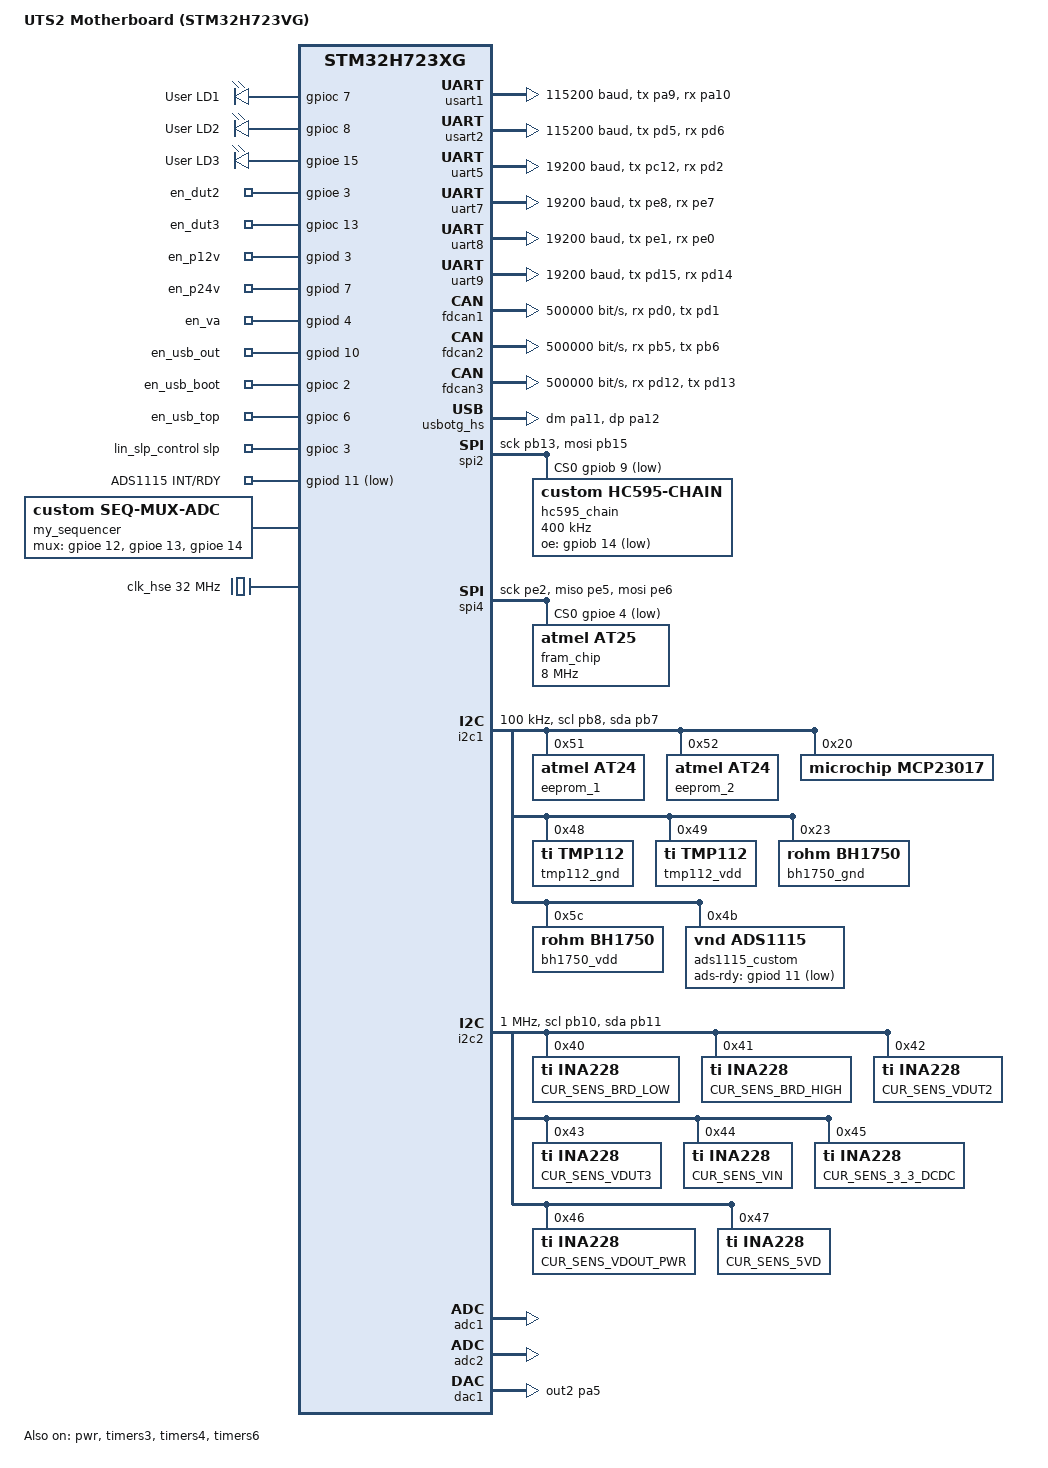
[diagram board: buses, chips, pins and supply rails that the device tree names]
/*
 * Copyright (c) 2020 Alexander Kozhinov <ak.alexander.kozhinov@gmail.com>
 * SPDX-License-Identifier: Apache-2.0
 */

/dts-v1/;
#include <st/h7/stm32h723Xg.dtsi>
#include <st/h7/stm32h723vgtx-pinctrl.dtsi>

/*
 * WARNING:
 * JP6 and SB72 must be ON when using Ethernet.
 */

/ {
	model = "UTS2 Motherboard (STM32H723VG)";
	compatible = "st,uts2-motherboard";

	chosen {
		zephyr,console = &usart1;
		/* zephyr,shell-uart = &usart1; */
		zephyr,dtcm = &dtcm;
		zephyr,sram = &sram0;
		zephyr,flash = &flash0;	
		zephyr,code-partition = &flash0;
	};

	aliases {
		led0 = &green_led;
		led1 = &yellow_led;
		led2 = &red_led;
		uart-detect = &usart2;
		fram0 = &fram_chip;
		dac-timer = &timers6;
		adsint = &ads_int_pin;
	};

	/* Светодиоды индикации платы */
	leds: leds {
		compatible = "gpio-leds";

		green_led: led_0 {
			gpios = <&gpioc 7 GPIO_ACTIVE_HIGH>;
			label = "User LD1";
		};

		yellow_led: led_1 {
			gpios = <&gpioc 8 GPIO_ACTIVE_HIGH>;
			label = "User LD2";
		};

		red_led: led_2 {
			gpios = <&gpioe 15 GPIO_ACTIVE_HIGH>;
			label = "User LD3";
		};
	};

	/* Управление ключами питания нагрузки и интерфейсов */
	enable_control_switch: enable_control_switch {
		compatible = "gpio-leds";

		/* Пин включения питания метки №1 */
		en_dut2: en_1 {
			gpios = <&gpioe 3 GPIO_ACTIVE_HIGH>;
		};
		/* Пин включения питания метки №2 */
		en_dut3: en_2 {
			gpios = <&gpioc 13 GPIO_ACTIVE_HIGH>;
		};
		/* Пин включения питания +12В */
		en_p12v: en_3 {
			gpios = <&gpiod 3 GPIO_ACTIVE_HIGH>;
		};
		/* Пин включения питания +24В */
		en_p24v: en_4 {
			gpios = <&gpiod 7 GPIO_ACTIVE_HIGH>;
		};
		/* Пин питания аналоговых буферов */
		en_va: en_5 {
			gpios = <&gpiod 4 GPIO_ACTIVE_HIGH>;
		};
		/* Пин питания интерфейсной платы USB */
		en_usb_out: en_6 {
			gpios = <&gpiod 10 GPIO_ACTIVE_HIGH>;
		};
		/* Пин питания верхней части разъема USB */
		en_usb_boot: en_7 {
			gpios = <&gpioc 2 GPIO_ACTIVE_HIGH>;
		};
		/* Пин питания нижней части разъема USB */
		en_usb_top: en_8 {
			gpios = <&gpioc 6 GPIO_ACTIVE_HIGH>;
		};
	};

	/* Пин перевода трансиверов LIN в рабочий режим (Wakeup) */
	lin_slp_control {
		compatible = "zephyr,user";
		slp-gpios = <&gpioc 3 GPIO_ACTIVE_HIGH>;
	};

	/* Внешнее прерывание RDY от АЦП ADS1115 */
	ads_interrupt_node {
		compatible = "gpio-keys";
		ads_int_pin: ads_int_pin {
			gpios = <&gpiod 11 (GPIO_ACTIVE_LOW | GPIO_PULL_UP)>;
			label = "ADS1115 INT/RDY";
		};
	};

	/* Кастомный драйвер фонового сбора АЦП2 через таймер TIM4 */
	scan_adc: scan_adc {
		compatible = "custom,scan-cont-adc";
		adc-dev = <&adc2>;
		timer-dev = <&timers4>;
		channel-count = <8>;
		dmas = <&dmamux1 2 10 0>;
		dma-names = "adc_dma";
		adc-duration-us = <1000>;
		status = "okay";
	};

	/* Кастомный драйвер секвенсора мультиплексора на АЦП1 через таймер TIM3 */
	my_sequencer: my_sequencer {
		compatible = "custom,seq-mux-adc";
		adc-dev = <&adc1>;
		timer-dev = <&timers3>;
		dmas = <&dmamux1 0 23 0>,
		       <&dmamux1 1 9  0>;
		dma-names = "seq_dma", "adc_dma";
		mux-gpios = <&gpioe 12 GPIO_ACTIVE_HIGH>,
		            <&gpioe 13 GPIO_ACTIVE_HIGH>,
		            <&gpioe 14 GPIO_ACTIVE_HIGH>;
		adc-duration-us = <60>;
		switch-duration-us = <60>;
		status = "okay";
	};
};

/* ====================================================================
 *  ПИТАНИЕ И ТАКТИРОВАНИЕ (384 МГц от HSE 32 МГц)
 * ==================================================================== */

&pwr {
	power-supply = "ldo";
	status = "okay";
};

&clk_hse {
	clock-frequency = <32000000>; /* 32 MHz */
	status = "okay";
	/* hse-bypass; */
};

&clk_hsi {
	hsi-div = <1>;
	status = "okay";
};

&clk_hsi48 {
	status = "okay";
};

&clk_lsi {
	status = "okay";
};

&clk_lse {
	status = "disabled";
};

&pll {
	div-m = <2>;
	mul-n = <48>;
	div-p = <2>;
	div-q = <8>;
	div-r = <2>;
	fracn = <0>;
	clocks = <&clk_hse>;
	status = "okay";
};

&pll2 {
	div-m = <2>;
	mul-n = <12>;
	div-p = <2>;
	div-q = <2>;
	div-r = <2>;
	clocks = <&clk_hse>;
	status = "okay";
};

&rcc {
	clocks = <&pll>;
	clock-frequency = <384000000>;
	d1cpre = <1>;  /* CPU:  384 MHz */
	hpre = <2>;    /* HCLK: 192 MHz */
	d1ppre = <2>;  /* APB3: 96 MHz */
	d2ppre1 = <2>; /* APB1: 96 MHz */
	d2ppre2 = <2>; /* APB2: 96 MHz */
	d3ppre = <2>;  /* APB4: 96 MHz */
};

/* ====================================================================
 *  ПОРТЫ GPIO, ПАМЯТЬ И СИСТЕМНЫЙ DMA
 * ==================================================================== */

&gpioa { status = "okay"; };
&gpiob { status = "okay"; };
&gpioc { status = "okay"; };
&gpiod { status = "okay"; };
&gpioe { status = "okay"; };

&dma1        { status = "okay"; };
&dmamux1     { status = "okay"; };
&sram4       { status = "okay"; };
&backup_sram { status = "okay"; };

/* ====================================================================
 *  АППАРАТНЫЙ PINCTRL ДЛЯ ПЕРИФЕРИИ
 * ==================================================================== */

&pinctrl {
	/* Аналоговые входы мультиплексора */
	mux1_adc_vsense: mux1_adc_vsense {
		pinmux = <STM32_PINMUX('A', 0, ANALOG)>;
	};
	mux2_adc_vsense: mux2_adc_vsense {
		pinmux = <STM32_PINMUX('A', 1, ANALOG)>;
	};
	mux3_adc_vsense: mux3_adc_vsense {
		pinmux = <STM32_PINMUX('A', 2, ANALOG)>;
	};
	mux4_adc_vsense: mux4_adc_vsense {
		pinmux = <STM32_PINMUX('A', 3, ANALOG)>;
	};
	mux5_adc_vsense: mux5_adc_vsense {
		pinmux = <STM32_PINMUX('A', 4, ANALOG)>;
	};

	/* USART1 (Консоль отладки) */
	usart1_tx_pa9: usart1_tx_pa9 {
		pinmux = <STM32_PINMUX('A', 9, AF7)>;
		bias-pull-up;
	};
	usart1_rx_pa10: usart1_rx_pa10 {
		pinmux = <STM32_PINMUX('A', 10, AF7)>;
	};

	/* SPI4 (Память FRAM на порту E) */
	spi4_sck_pe2: spi4_sck_pe2 {
		pinmux = <STM32_PINMUX('E', 2, AF5)>;
		bias-pull-down;
	};
	spi4_miso_pe5: spi4_miso_pe5 {
		pinmux = <STM32_PINMUX('E', 5, AF5)>;
		bias-pull-down;
	};
	spi4_mosi_pe6: spi4_mosi_pe6 {
		pinmux = <STM32_PINMUX('E', 6, AF5)>;
		bias-pull-down;
	};
};

/* Подтягивающие резисторы для шин I2C */
&i2c1_scl_pb8  { drive-open-drain; bias-pull-up; };
&i2c1_sda_pb7  { drive-open-drain; bias-pull-up; };
&i2c2_scl_pb10 { drive-open-drain; bias-pull-up; };
&i2c2_sda_pb11 { drive-open-drain; bias-pull-up; };

/* ====================================================================
 *  ИНТЕРФЕЙСЫ СВЯЗИ: UART
 * ==================================================================== */

&usart1 {
	pinctrl-0 = <&usart1_tx_pa9 &usart1_rx_pa10>;
	pinctrl-names = "default";
	current-speed = <115200>;
	tx-rx-swap;
	status = "okay";
};

uart_detect: &usart2 {
	pinctrl-0 = <&usart2_tx_pd5 &usart2_rx_pd6>;
	pinctrl-names = "default";
	current-speed = <115200>;
	status = "okay";
};

&uart5 {
	current-speed = <19200>;
	pinctrl-0 = <&uart5_tx_pc12 &uart5_rx_pd2>;
	pinctrl-names = "default";
	status = "okay";
};

&uart7 {
	current-speed = <19200>;
	pinctrl-0 = <&uart7_tx_pe8 &uart7_rx_pe7>;
	pinctrl-names = "default";
	status = "okay";
};

&uart8 {
	current-speed = <19200>;
	pinctrl-0 = <&uart8_tx_pe1 &uart8_rx_pe0>;
	pinctrl-names = "default";
	status = "okay";
};

&uart9 {
	current-speed = <19200>;
	pinctrl-0 = <&uart9_tx_pd15 &uart9_rx_pd14>;
	pinctrl-names = "default";
	status = "okay";
};

/* ====================================================================
 *  ИНТЕРФЕЙСЫ СВЯЗИ: FDCAN
 * ==================================================================== */

&fdcan1 {
	pinctrl-0 = <&fdcan1_rx_pd0 &fdcan1_tx_pd1>;
	pinctrl-names = "default";
	bitrate = <500000>;
	status = "okay";
};

&fdcan2 {
	pinctrl-0 = <&fdcan2_rx_pb5 &fdcan2_tx_pb6>;
	pinctrl-names = "default";
	bitrate = <500000>;
	status = "okay";
};

&fdcan3 {
	pinctrl-0 = <&fdcan3_rx_pd12 &fdcan3_tx_pd13>;
	pinctrl-names = "default";
	bitrate = <500000>;
	status = "okay";
};

/* ====================================================================
 *  ИНТЕРФЕЙС USB (CDC ACM)
 * ==================================================================== */

zephyr_udc0: &usbotg_hs {
	pinctrl-0 = <&usb_otg_hs_dm_pa11 &usb_otg_hs_dp_pa12>;
	pinctrl-names = "default";
	/delete-property/ vbus-gpios;
	status = "okay";

	cdc_acm_uart0: cdc_acm_uart0 {
		compatible = "zephyr,cdc-acm-uart";
	};
};

/* ====================================================================
 *  ИНТЕРФЕЙСЫ SPI
 * ==================================================================== */

&spi2 {
	pinctrl-0 = <&spi2_sck_pb13 &spi2_mosi_pb15>;
	pinctrl-names = "default";
	cs-gpios = <&gpiob 9 GPIO_ACTIVE_LOW>;
	status = "okay";

	hc595_chain: hc595-chain@0 {
		compatible = "custom,hc595-chain";
		reg = <0>;
		spi-max-frequency = <400000>;
		chain-length = <5>;
		oe-gpios = <&gpiob 14 GPIO_ACTIVE_LOW>;
	};
};

&spi4 {
	pinctrl-0 = <&spi4_sck_pe2 &spi4_miso_pe5 &spi4_mosi_pe6>;
	pinctrl-names = "default";
	cs-gpios = <&gpioe 4 GPIO_ACTIVE_LOW>;
	status = "okay";

	fram_chip: mb85rs64@0 {
		compatible = "atmel,at25";
		reg = <0>;
		spi-max-frequency = <8000000>;
		size = <8192>;
		pagesize = <1>;
		address-width = <16>;
		timeout = <5>;
	};
};

/* ====================================================================
 *  ИНТЕРФЕЙСЫ I2C
 * ==================================================================== */

&i2c1 {
	pinctrl-0 = <&i2c1_scl_pb8 &i2c1_sda_pb7>;
	pinctrl-names = "default";
	scl-gpios = <&gpiob 8 (GPIO_ACTIVE_HIGH | GPIO_OPEN_DRAIN)>;
	sda-gpios = <&gpiob 7 (GPIO_ACTIVE_HIGH | GPIO_OPEN_DRAIN)>;
	clock-frequency = <I2C_BITRATE_STANDARD>;
	status = "okay";

	eeprom_1: eeprom@51 {
		compatible = "atmel,at24";
		reg = <0x51>;
		size = <256>;
		pagesize = <16>;
		address-width = <8>;
		timeout = <10>;
		status = "okay";
	};

	eeprom_2: eeprom@52 {
		compatible = "atmel,at24";
		reg = <0x52>;
		size = <256>;
		pagesize = <16>;
		address-width = <8>;
		timeout = <10>;
		status = "okay";
	};

	mcp23017: mcp23017@20 {
		compatible = "microchip,mcp23017";
		reg = <0x20>;
		status = "okay";
		gpio-controller;
		#gpio-cells = <2>;
		ngpios = <16>;
	};

	tmp112_gnd: tmp112@48 {
		compatible = "ti,tmp112";
		reg = <0x48>;
		status = "okay";
	};

	tmp112_vdd: tmp112@49 {
		compatible = "ti,tmp112";
		reg = <0x49>;
		status = "okay";
	};

	bh1750_gnd: bh1750@23 {
		compatible = "rohm,bh1750";
		reg = <0x23>;
		status = "okay";
	};

	bh1750_vdd: bh1750@5c {
		compatible = "rohm,bh1750";
		reg = <0x5c>;
		status = "okay";
	};

	ads1115_custom: ads1115@4b {
		compatible = "vnd,ads1115";
		reg = <0x4b>;
		status = "okay";
		ads-sps = <16>;
		ads-rdy = <&gpiod 11 (GPIO_ACTIVE_LOW | GPIO_PULL_UP)>;
	};
};

&i2c2 {
	pinctrl-0 = <&i2c2_scl_pb10 &i2c2_sda_pb11>;
	pinctrl-names = "default";
	scl-gpios = <&gpiob 10 (GPIO_ACTIVE_HIGH | GPIO_OPEN_DRAIN)>;
	sda-gpios = <&gpiob 11 (GPIO_ACTIVE_HIGH | GPIO_OPEN_DRAIN)>;
	clock-frequency = <I2C_BITRATE_FAST_PLUS>;
	status = "okay";

	timings = <96000000 I2C_BITRATE_STANDARD  0x20D09BEE>,
	          <96000000 I2C_BITRATE_FAST      0x00A0329E>,
	          <96000000 I2C_BITRATE_FAST_PLUS 0x00501043>,
	          <120000000 I2C_BITRATE_STANDARD  0x20F091E5>,
	          <120000000 I2C_BITRATE_FAST      0x00C03DC6>,
	          <120000000 I2C_BITRATE_FAST_PLUS 0x00601453>,
	          <137500000 I2C_BITRATE_STANDARD  0x30C082CE>,
	          <137500000 I2C_BITRATE_FAST      0x00E047E3>,
	          <137500000 I2C_BITRATE_FAST_PLUS 0x00701760>;

	CUR_SENS_BRD_LOW: ina228@40 {
		compatible = "ti,ina228";
		reg = <0x40>;
		current-lsb-microamps = <10>;
		rshunt-micro-ohms = <50000>;
		adc-mode = "Bus and shunt voltage continuous";
		vbus-conversion-time-us = <280>;
		vshunt-conversion-time-us = <280>;
		avg-count = <1>;
		status = "okay";
	};

	CUR_SENS_BRD_HIGH: ina228@41 {
		compatible = "ti,ina228";
		reg = <0x41>;
		current-lsb-microamps = <10>;
		rshunt-micro-ohms = <50000>;
		adc-mode = "Bus and shunt voltage continuous";
		vbus-conversion-time-us = <280>;
		vshunt-conversion-time-us = <280>;
		avg-count = <1>;
		status = "okay";
	};

	CUR_SENS_VDUT2: ina228@42 {
		compatible = "ti,ina228";
		reg = <0x42>;
		rshunt-micro-ohms = <500000>;
		current-lsb-microamps = <1>;
		adc-mode = "Bus and shunt voltage continuous";
		vbus-conversion-time-us = <280>;
		vshunt-conversion-time-us = <280>;
		avg-count = <1>;
		status = "okay";
	};

	CUR_SENS_VDUT3: ina228@43 {
		compatible = "ti,ina228";
		reg = <0x43>;
		rshunt-micro-ohms = <500000>;
		current-lsb-microamps = <1>;
		adc-mode = "Bus and shunt voltage continuous";
		vbus-conversion-time-us = <280>;
		vshunt-conversion-time-us = <280>;
		avg-count = <1>;
		status = "okay";
	};

	CUR_SENS_VIN: ina228@44 {
		compatible = "ti,ina228";
		reg = <0x44>;
		current-lsb-microamps = <10>;
		rshunt-micro-ohms = <50000>;
		adc-mode = "Bus and shunt voltage continuous";
		vbus-conversion-time-us = <280>;
		vshunt-conversion-time-us = <280>;
		avg-count = <1>;
		status = "okay";
	};

	CUR_SENS_3_3_DCDC: ina228@45 {
		compatible = "ti,ina228";
		reg = <0x45>;
		current-lsb-microamps = <1>;
		rshunt-micro-ohms = <50000>;
		adc-mode = "Bus and shunt voltage continuous";
		vbus-conversion-time-us = <280>;
		vshunt-conversion-time-us = <280>;
		avg-count = <1>;
		status = "okay";
	};

	CUR_SENS_VDOUT_PWR: ina228@46 {
		compatible = "ti,ina228";
		reg = <0x46>;
		current-lsb-microamps = <10>;
		rshunt-micro-ohms = <50000>;
		adc-mode = "Bus and shunt voltage continuous";
		vbus-conversion-time-us = <280>;
		vshunt-conversion-time-us = <280>;
		avg-count = <1>;
		status = "okay";
	};

	CUR_SENS_5VD: ina228@47 {
		compatible = "ti,ina228";
		reg = <0x47>;
		current-lsb-microamps = <10>;
		rshunt-micro-ohms = <50000>;
		adc-mode = "Bus and shunt voltage continuous";
		vbus-conversion-time-us = <280>;
		vshunt-conversion-time-us = <280>;
		avg-count = <1>;
		status = "okay";
	};
};

/* ====================================================================
 *  ТАЙМЕРЫ И АНАЛОГОВАЯ ПЕРИФЕРИЯ (ADC / DAC)
 * ==================================================================== */

&adc1 { status = "okay"; };
&adc2 { status = "okay"; };

&timers3 {
	st,prescaler = <10000>;
	status = "okay";
	counter { status = "okay"; };
};

&timers4 {
	st,prescaler = <10000>;
	status = "okay";
	counter { status = "okay"; };
};

&timers6 {
	status = "okay";
};

&dac1 {
	pinctrl-0 = <&dac1_out2_pa5>;
	pinctrl-names = "default";
	status = "okay";
};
